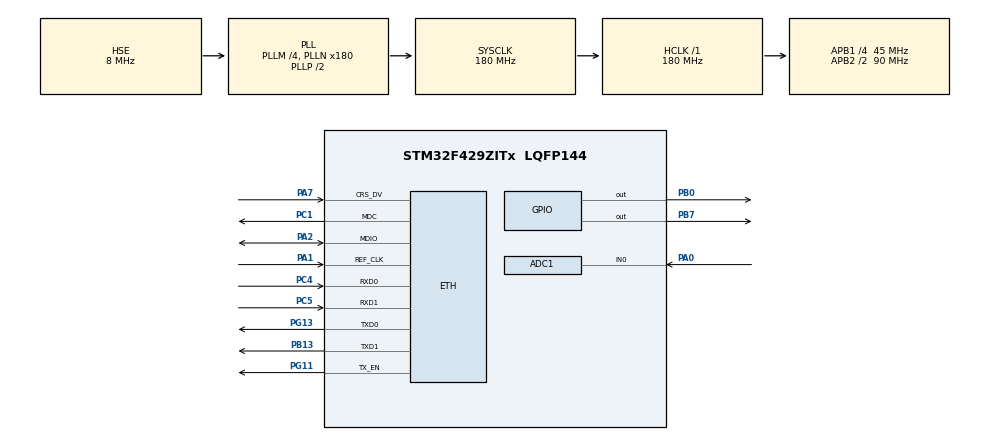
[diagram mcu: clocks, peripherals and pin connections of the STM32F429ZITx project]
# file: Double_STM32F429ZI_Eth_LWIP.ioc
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ADC1.Channel-0\#ChannelRegularConversion=ADC_CHANNEL_0
ADC1.ContinuousConvMode=ENABLE
ADC1.NbrOfConversionFlag=1
ADC1.Rank-0\#ChannelRegularConversion=1
ADC1.SamplingTime-0\#ChannelRegularConversion=ADC_SAMPLETIME_3CYCLES
ADC1.master=1
Dma.ADC1.0.Direction=DMA_PERIPH_TO_MEMORY
Dma.ADC1.0.FIFOMode=DMA_FIFOMODE_DISABLE
Dma.ADC1.0.Instance=DMA2_Stream0
Dma.ADC1.0.MemDataAlignment=DMA_MDATAALIGN_HALFWORD
Dma.ADC1.0.MemInc=DMA_MINC_ENABLE
Dma.ADC1.0.Mode=DMA_NORMAL
Dma.ADC1.0.PeriphDataAlignment=DMA_PDATAALIGN_HALFWORD
Dma.ADC1.0.PeriphInc=DMA_PINC_DISABLE
Dma.ADC1.0.Priority=DMA_PRIORITY_LOW
Dma.Request0=ADC1
ETH.MediaInterface=HAL_ETH_RMII_MODE
FREERTOS.Tasks01=defaultTask,0,2048,StartDefaultTask,Default,NULL,Dynamic,NULL,NULL
FREERTOS.configUSE_NEWLIB_REENTRANT=1
LWIP.BSP.number=1
LWIP.DEFAULT_THREAD_STACKSIZE=2048
LWIP.GATEWAY_ADDRESS=192.168.001.001
LWIP.IP_ADDRESS=192.168.001.002
LWIP.LWIP_DHCP=0
LWIP.NETMASK_ADDRESS=255.255.255.000
LWIP.Version=v2.1.2_Cube
LWIP0.BSP.STBoard=false
LWIP0.BSP.api=BSP_COMPONENT_DRIVER
LWIP0.BSP.component=LAN8742
LWIP0.BSP.instance=LAN8742
LWIP0.BSP.name=Driver_PHY
LWIP0.BSP.semaphore=S_LAN8742
LWIP0.BSP.solution=LAN8742
Mcu.Family=STM32F4
Mcu.Name=STM32F429ZITx
Mcu.Package=LQFP144
NVIC.DMA2_Stream0_IRQn=true\:5\:0\:false\:false\:true\:true\:false\:true\:true
NVIC.ETH_IRQn=true\:5\:0\:false\:false\:true\:true\:false\:true\:true
NVIC.PriorityGroup=NVIC_PRIORITYGROUP_4
NVIC.TIM2_IRQn=true\:15\:0\:false\:false\:true\:false\:false\:true\:true
NVIC.TimeBase=TIM2_IRQn
NVIC.TimeBaseIP=TIM2
PA0/WKUP.Signal=ADCx_IN0
PA1.Mode=RMII
PA1.Signal=ETH_REF_CLK
PA13.Mode=Serial_Wire
PA13.Signal=SYS_JTMS-SWDIO
PA14.Mode=Serial_Wire
PA14.Signal=SYS_JTCK-SWCLK
PA2.Mode=RMII
PA2.Signal=ETH_MDIO
PA7.Mode=RMII
PA7.Signal=ETH_CRS_DV
PB0.GPIO_PuPd=GPIO_PULLDOWN
PB0.Signal=GPIO_Output
PB13.Mode=RMII
PB13.Signal=ETH_TXD1
PB7.GPIO_ModeDefaultOutputPP=GPIO_MODE_OUTPUT_PP
PB7.GPIO_PuPd=GPIO_PULLDOWN
PB7.Signal=GPIO_Output
PC1.Mode=RMII
PC1.Signal=ETH_MDC
PC4.Mode=RMII
PC4.Signal=ETH_RXD0
PC5.Mode=RMII
PC5.Signal=ETH_RXD1
PG11.Mode=RMII
PG11.Signal=ETH_TX_EN
PG13.Mode=RMII
PG13.Signal=ETH_TXD0
PH0/OSC_IN.Mode=HSE-External-Oscillator
PH0/OSC_IN.Signal=RCC_OSC_IN
PH1/OSC_OUT.Mode=HSE-External-Oscillator
PH1/OSC_OUT.Signal=RCC_OSC_OUT
ProjectManager.HeapSize=0x200
ProjectManager.StackSize=0x400
ProjectManager.TargetToolchain=STM32CubeIDE
RCC.48MHZClocksFreq_Value=90000000
RCC.AHBFreq_Value=180000000
RCC.APB1CLKDivider=RCC_HCLK_DIV4
RCC.APB1Freq_Value=45000000
RCC.APB1TimFreq_Value=90000000
RCC.APB2CLKDivider=RCC_HCLK_DIV2
RCC.APB2Freq_Value=90000000
RCC.APB2TimFreq_Value=180000000
RCC.CortexFreq_Value=180000000
RCC.HCLKFreq_Value=180000000
RCC.HSE_VALUE=8000000
RCC.HSI_VALUE=16000000
RCC.LSE_VALUE=32768
RCC.PLLM=4
RCC.PLLN=180
RCC.PLLSourceVirtual=RCC_PLLSOURCE_HSE
RCC.SYSCLKFreq_VALUE=180000000
RCC.SYSCLKSource=RCC_SYSCLKSOURCE_PLLCLK
RCC.VCOOutputFreq_Value=360000000
SH.ADCx_IN0.0=ADC1_IN0,IN0
VP_FREERTOS_VS_CMSIS_V1.Mode=CMSIS_V1
VP_LWIP_VS_Enabled.Mode=Enabled
VP_SYS_VS_tim2.Mode=TIM2
board=custom

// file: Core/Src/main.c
/* USER CODE BEGIN Header */
/**
  ******************************************************************************
  * @file           : main.c
  * @brief          : Main program body
  ******************************************************************************
  * @attention
  *
  * Copyright (c) 2022 STMicroelectronics.
  * All rights reserved.
  *
  * This software is licensed under terms that can be found in the LICENSE file
  * in the root directory of this software component.
  * If no LICENSE file comes with this software, it is provided AS-IS.
  *
  ******************************************************************************
  */
/* USER CODE END Header */
#include "main.h"
#include "cmsis_os.h"
#include "lwip.h"

/* USER CODE BEGIN Includes */
#include "string.h"
#include "lwip\udp.h"
/* USER CODE END Includes */

/* USER CODE BEGIN PD */
#define ADC_BUFF_LEN	512
#define ADC_BUFF_LEN_B	(ADC_BUFF_LEN * 2)
#define DATA_LEN 		ADC_BUFF_LEN_B
/* USER CODE END PD */

ADC_HandleTypeDef hadc1;
DMA_HandleTypeDef hdma_adc1;

osThreadId defaultTaskHandle;
/* USER CODE BEGIN PV */

uint16_t adc_buf[ADC_BUFF_LEN];

enum STM32_STATE {

	STM32_START = 0,
	STM32_IDLE,
	STM32_TRNSMT,
	STM32_ERR = 616

};

enum ADC_STATE {

	ADC_START = 0,
	ADC_IDLE,
	ADC_CONV_FIRST_HALF,
	ADC_FIRST_HALF_FULL,
	ADC_CONV_SECOND_HALF,
	ADC_SECOND_HALF_FULL,
	ADC_ERR = 616
};

uint32_t stm32_state 	= STM32_START;
uint32_t adc_state 		= ADC_START;

/* USER CODE END PV */

void SystemClock_Config(void);
static void MX_GPIO_Init(void);
static void MX_DMA_Init(void);
static void MX_ADC1_Init(void);
void StartDefaultTask(void const * argument);

/* USER CODE BEGIN PFP */
void HAL_ADC_ConvCpltCallback(ADC_HandleTypeDef* hadc);
uint32_t UDP_Transmit(struct udp_pcb* pcb, struct pbuf* udp_buffer, uint32_t* data, uint32_t data_len);
/* USER CODE END PFP */

int main(void)
{

  /* MCU Configuration--------------------------------------------------------*/

  /* Reset of all peripherals, Initializes the Flash interface and the Systick. */
  HAL_Init();

  /* Configure the system clock */
  SystemClock_Config();

  /* Initialize all configured peripherals */
  MX_GPIO_Init();
  MX_DMA_Init();
  MX_ADC1_Init();

  /* Create the thread(s) */
  /* definition and creation of defaultTask */
  osThreadDef(defaultTask, StartDefaultTask, osPriorityNormal, 0, 2048);
  defaultTaskHandle = osThreadCreate(osThread(defaultTask), NULL);

  /* Start scheduler */
  osKernelStart();

  /* We should never get here as control is now taken by the scheduler */
  /* Infinite loop */
  while (1)
  {

    /* USER CODE BEGIN 3 */
//	  HAL_ADC_Start_DMA(&hadc1, (uint32_t*)adc_buff, ADC_BUFF_LEN);
//	  HAL_Delay(1000);
  }
  /* USER CODE END 3 */
}

void SystemClock_Config(void)
{
  RCC_OscInitTypeDef RCC_OscInitStruct = {0};
  RCC_ClkInitTypeDef RCC_ClkInitStruct = {0};

  /** Configure the main internal regulator output voltage
  */
  __HAL_RCC_PWR_CLK_ENABLE();
  __HAL_PWR_VOLTAGESCALING_CONFIG(PWR_REGULATOR_VOLTAGE_SCALE1);

  /** Initializes the RCC Oscillators according to the specified parameters
  * in the RCC_OscInitTypeDef structure.
  */
  RCC_OscInitStruct.OscillatorType = RCC_OSCILLATORTYPE_HSE;
  RCC_OscInitStruct.HSEState = RCC_HSE_ON;
  RCC_OscInitStruct.PLL.PLLState = RCC_PLL_ON;
  RCC_OscInitStruct.PLL.PLLSource = RCC_PLLSOURCE_HSE;
  RCC_OscInitStruct.PLL.PLLM = 4;
  RCC_OscInitStruct.PLL.PLLN = 180;
  RCC_OscInitStruct.PLL.PLLP = RCC_PLLP_DIV2;
  RCC_OscInitStruct.PLL.PLLQ = 4;
  if (HAL_RCC_OscConfig(&RCC_OscInitStruct) != HAL_OK)
  {
    Error_Handler();
  }

  /** Activate the Over-Drive mode
  */
  if (HAL_PWREx_EnableOverDrive() != HAL_OK)
  {
    Error_Handler();
  }

  /** Initializes the CPU, AHB and APB buses clocks
  */
  RCC_ClkInitStruct.ClockType = RCC_CLOCKTYPE_HCLK|RCC_CLOCKTYPE_SYSCLK
                              |RCC_CLOCKTYPE_PCLK1|RCC_CLOCKTYPE_PCLK2;
  RCC_ClkInitStruct.SYSCLKSource = RCC_SYSCLKSOURCE_PLLCLK;
  RCC_ClkInitStruct.AHBCLKDivider = RCC_SYSCLK_DIV1;
  RCC_ClkInitStruct.APB1CLKDivider = RCC_HCLK_DIV4;
  RCC_ClkInitStruct.APB2CLKDivider = RCC_HCLK_DIV2;

  if (HAL_RCC_ClockConfig(&RCC_ClkInitStruct, FLASH_LATENCY_5) != HAL_OK)
  {
    Error_Handler();
  }
}

static void MX_ADC1_Init(void)
{

  ADC_ChannelConfTypeDef sConfig = {0};

  /** Configure the global features of the ADC (Clock, Resolution, Data Alignment and number of conversion)
  */
  hadc1.Instance = ADC1;
  hadc1.Init.ClockPrescaler = ADC_CLOCK_SYNC_PCLK_DIV4;
  hadc1.Init.Resolution = ADC_RESOLUTION_12B;
  hadc1.Init.ScanConvMode = DISABLE;
  hadc1.Init.ContinuousConvMode = ENABLE;
  hadc1.Init.DiscontinuousConvMode = DISABLE;
  hadc1.Init.ExternalTrigConvEdge = ADC_EXTERNALTRIGCONVEDGE_NONE;
  hadc1.Init.ExternalTrigConv = ADC_SOFTWARE_START;
  hadc1.Init.DataAlign = ADC_DATAALIGN_RIGHT;
  hadc1.Init.NbrOfConversion = 1;
  hadc1.Init.DMAContinuousRequests = DISABLE;
  hadc1.Init.EOCSelection = ADC_EOC_SINGLE_CONV;
  if (HAL_ADC_Init(&hadc1) != HAL_OK)
  {
    Error_Handler();
  }

  /** Configure for the selected ADC regular channel its corresponding rank in the sequencer and its sample time.
  */
  sConfig.Channel = ADC_CHANNEL_0;
  sConfig.Rank = 1;
  sConfig.SamplingTime = ADC_SAMPLETIME_3CYCLES;
  if (HAL_ADC_ConfigChannel(&hadc1, &sConfig) != HAL_OK)
  {
    Error_Handler();
  }

}

static void MX_DMA_Init(void)
{

  /* DMA controller clock enable */
  __HAL_RCC_DMA2_CLK_ENABLE();

  /* DMA interrupt init */
  /* DMA2_Stream0_IRQn interrupt configuration */
  HAL_NVIC_SetPriority(DMA2_Stream0_IRQn, 5, 0);
  HAL_NVIC_EnableIRQ(DMA2_Stream0_IRQn);

}

static void MX_GPIO_Init(void)
{
  GPIO_InitTypeDef GPIO_InitStruct = {0};

  /* GPIO Ports Clock Enable */
  __HAL_RCC_GPIOH_CLK_ENABLE();
  __HAL_RCC_GPIOC_CLK_ENABLE();
  __HAL_RCC_GPIOA_CLK_ENABLE();
  __HAL_RCC_GPIOB_CLK_ENABLE();
  __HAL_RCC_GPIOG_CLK_ENABLE();

  /*Configure GPIO pin Output Level */
  HAL_GPIO_WritePin(GPIOB, GPIO_PIN_0|GPIO_PIN_7, GPIO_PIN_RESET);

  /*Configure GPIO pins : PB0 PB7 */
  GPIO_InitStruct.Pin = GPIO_PIN_0|GPIO_PIN_7;
  GPIO_InitStruct.Mode = GPIO_MODE_OUTPUT_PP;
  GPIO_InitStruct.Pull = GPIO_PULLDOWN;
  GPIO_InitStruct.Speed = GPIO_SPEED_FREQ_LOW;
  HAL_GPIO_Init(GPIOB, &GPIO_InitStruct);

}

/* USER CODE BEGIN 4 */

uint32_t UDP_Transmit(struct udp_pcb* pcb, struct pbuf* udp_buffer, uint32_t* data, uint32_t data_len) {

	udp_buffer = pbuf_alloc(PBUF_TRANSPORT, data_len, PBUF_RAM);
	if (udp_buffer != NULL) {
		memcpy(udp_buffer->payload, data, data_len);
		udp_send(pcb, udp_buffer);
		pbuf_free(udp_buffer);
		return 0;
	}
	else
		return 1;

}

void HAL_ADC_ConvCpltCallback(ADC_HandleTypeDef* hadc)
{
	 HAL_ADC_Stop_DMA(hadc);

	 switch (adc_state) {
	 	 case ADC_CONV_FIRST_HALF:
	 		adc_state = ADC_FIRST_HALF_FULL;
	 		HAL_GPIO_WritePin(GPIOB, GPIO_PIN_0, GPIO_PIN_SET);
	 		break;
	 	 case ADC_CONV_SECOND_HALF:
	 		adc_state = ADC_SECOND_HALF_FULL;
	 		HAL_GPIO_WritePin(GPIOB, GPIO_PIN_7, GPIO_PIN_SET);
	 		break;
	 	 default:
	 		 break;
	 }

}
/* USER CODE END 4 */

void StartDefaultTask(void const * argument)
{
  /* init code for LWIP */
  MX_LWIP_Init();
  /* USER CODE BEGIN 5 */

  adc_state = ADC_IDLE;

    osDelay(1000);

    ip_addr_t PC_IPADDR;
    IP_ADDR4(&PC_IPADDR, 192, 168, 1, 1);

    struct udp_pcb* my_udp = udp_new();
    udp_connect(my_udp, &PC_IPADDR, 55151);
    struct pbuf* udp_buffer = NULL;

    uint32_t* padc_buff;

    GPIO_TypeDef* LED_PORT = GPIOB;
    uint16_t LED_PIN;

    HAL_DMA_RegisterCallback (&hdma_adc1,HAL_DMA_XFER_CPLT_CB_ID,HAL_ADC_ConvCpltCallback );

  /* Infinite loop */
  for(;;)
  {

	  osDelay(50);
	  switch (stm32_state) {
	  	  case STM32_START:
	  		  HAL_ADC_Start_DMA(&hadc1, (uint32_t*)adc_buf, ADC_BUFF_LEN/2);
	  		  adc_state = ADC_CONV_FIRST_HALF;
	  		  stm32_state = STM32_IDLE;
	  		  break;
	  	  case STM32_IDLE:
	  		 switch (adc_state) {
	  			 	 case ADC_FIRST_HALF_FULL:
	  			 		HAL_ADC_Start_DMA(&hadc1, (uint32_t*)adc_buf+ADC_BUFF_LEN/2, ADC_BUFF_LEN/2);
	  			 		adc_state = ADC_CONV_SECOND_HALF;
	  			 		padc_buff = (uint32_t*)adc_buf;
	  			 		LED_PIN = GPIO_PIN_0;
	  			 		break;
	  			 	 case ADC_SECOND_HALF_FULL:
	  			 		HAL_ADC_Start_DMA(&hadc1, (uint32_t*)adc_buf, ADC_BUFF_LEN/2);
	  			 		adc_state = ADC_CONV_FIRST_HALF;
	  			 		padc_buff = (uint32_t*)adc_buf+ADC_BUFF_LEN/2;
	  			 		LED_PIN = GPIO_PIN_7;
	  			 		break;
	  			 	 default:
	  			 		 continue;
	  			 }
	  		 stm32_state = STM32_TRNSMT;
	  		// UDP_Transmit(my_udp, udp_buffer, padc_buff, ADC_BUFF_LEN_B/2);

	  		udp_buffer = pbuf_alloc(PBUF_TRANSPORT, (ADC_BUFF_LEN_B/2), PBUF_RAM);
	  			if (udp_buffer != NULL) {
	  				memcpy(udp_buffer->payload, padc_buff, 512);
	  				udp_send(my_udp, udp_buffer);
	  				pbuf_free(udp_buffer);
	  		}
	  		 stm32_state = STM32_IDLE;
	  		 HAL_GPIO_WritePin(LED_PORT, LED_PIN, GPIO_PIN_RESET);
	  		 break;
	  	  case STM32_ERR:
	  		  break;
	  	  default:
	  		  break;
	  }

//	  HAL_GPIO_TogglePin(GPIOB, GPIO_PIN_0);
  }

  /* USER CODE END 5 */
}

void HAL_TIM_PeriodElapsedCallback(TIM_HandleTypeDef *htim)
{
  if (htim->Instance == TIM2) {
    HAL_IncTick();
  }
}

void Error_Handler(void)
{
  __disable_irq();
  while (1)
  {
  }
}
